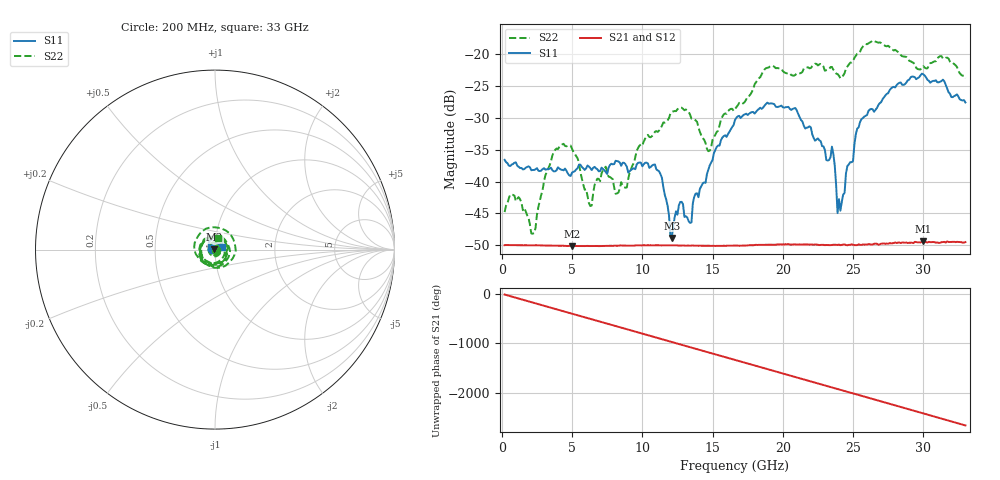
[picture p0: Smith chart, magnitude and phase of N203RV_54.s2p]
# GHZ S RI R 50
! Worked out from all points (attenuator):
!   329 points, 200 MHz to 33 GHz, reference 50 ohm
!   highest |S21| = -49.39 dB at 30 GHz (marker M1); lowest = -50.1 dB at 5 GHz (marker M2)
!   lowest |S11| = -48.8 dB at 12.1 GHz (marker M3), VSWR 1.01, Z = 49.7 + j0.183 ohm
!   |S11| at or under -10 dB: start of sweep to end of sweep
!   |S22| runs from -48.2 to -17.9 dB; largest |S21 - S12| = 7.2e-05
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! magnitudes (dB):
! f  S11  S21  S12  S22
! 200 MHz  -36.6  -50.0  -49.9  -44.8
! 1.2 GHz  -37.7  -50.0  -49.9  -42.4
! 2.3 GHz  -38.2  -50.0  -50.0  -48.1
! 3.7 GHz  -38.4  -50.0  -50.0  -35.4
! 5 GHz  -38.6  -50.1  -50.1  -34.9
! 5.7 GHz  -37.7  -50.1  -50.1  -39.5
! 6.3 GHz  -37.9  -50.1  -50.1  -43.8
! 7.4 GHz  -38.5  -50.1  -50.1  -37.7
! 8.9 GHz  -37.7  -50.0  -50.0  -40.9
! 11.2 GHz  -38.4  -50.0  -50.0  -32.0
! 12.1 GHz  -48.8  -50.0  -49.9  -29.1
! 13.5 GHz  -46.4  -50.0  -50.0  -30.2
! 14.7 GHz  -38.2  -50.1  -50.1  -35.3
! 16.6 GHz  -30.4  -50.0  -50.0  -28.6
! 18.8 GHz  -27.9  -49.9  -49.9  -22.3
! 22.1 GHz  -32.6  -49.9  -49.8  -21.9
! 23.5 GHz  -34.5  -49.9  -49.9  -22.1
! 23.9 GHz  -44.9  -49.9  -49.9  -23.2
! 25.3 GHz  -31.7  -50.0  -49.9  -20.0
! 27.6 GHz  -25.7  -49.6  -49.7  -18.9
! 30 GHz  -23.2  -49.4  -49.5  -21.9
! 33 GHz  -27.6  -49.5  -49.5  -23.8
